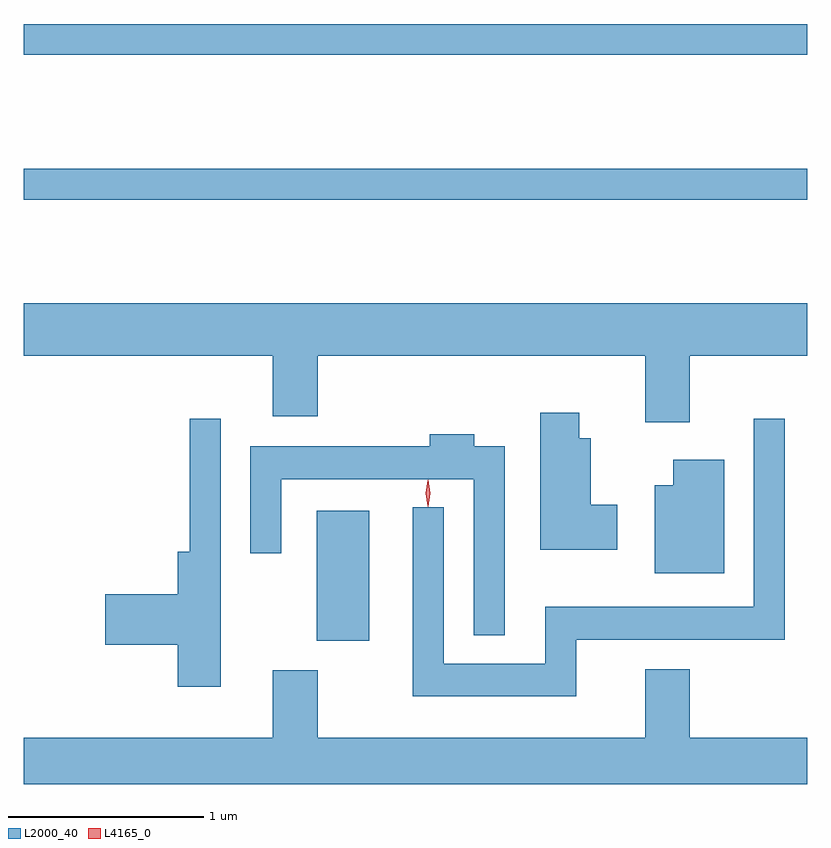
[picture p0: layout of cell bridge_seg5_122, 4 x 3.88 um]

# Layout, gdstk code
import gdstk
lib = gdstk.Library(unit=1e-6, precision=1e-09)
def R(c, l, rs):  # rectangles x0, y0, x1, y1
    for r in rs: c.add(gdstk.rectangle(r[:2], r[2:], *l))
def P(c, l, *ps):  # polygons
    for p in ps: c.add(gdstk.Polygon(p, *l))
L2000_40 = (2000, 40)
L4165_0 = (4165, 0)

bridge_seg5_122 = lib.new_cell('bridge_seg5_122')
R(bridge_seg5_122, L2000_40, [(1197.246,1422.041,1197.514,1422.704), (1195.749,1424.291,1199.749,1424.449), (1195.749,1425.031,1199.749,1425.189)])
P(bridge_seg5_122, L2000_40, [(1199.149,1423.496),(1199.749,1423.496),(1199.749,1423.764),(1195.749,1423.764),(1195.749,1423.496),(1197.021,1423.496),(1197.021,1423.186),(1197.249,1423.186),(1197.249,1423.496),(1198.921,1423.496),(1198.921,1423.156),(1199.149,1423.156)],
  [(1198.779,1422.734),(1198.644,1422.734),(1198.644,1423.074),(1198.584,1423.074),(1198.584,1423.204),(1198.386,1423.204),(1198.386,1422.506),(1198.779,1422.506)],
  [(1196.754,1423.173),(1196.596,1423.173),(1196.596,1422.494),(1196.536,1422.494),(1196.536,1422.279),(1196.166,1422.279),(1196.166,1422.021),(1196.536,1422.021),(1196.536,1421.806),(1196.754,1421.806)],
  [(1198.569,1422.046),(1199.634,1422.046),(1199.634,1423.173),(1199.476,1423.173),(1199.476,1422.214),(1198.411,1422.214),(1198.411,1421.924),(1197.894,1421.924),(1197.894,1422.723),(1197.736,1422.723),(1197.736,1421.756),(1198.569,1421.756)],
  [(1198.204,1423.034),(1198.049,1423.034),(1198.049,1423.094),(1197.821,1423.094),(1197.821,1423.034),(1196.906,1423.034),(1196.906,1422.488),(1197.064,1422.488),(1197.064,1422.866),(1198.046,1422.866),(1198.046,1422.068),(1198.204,1422.068)],
  [(1199.324,1422.964),(1199.066,1422.964),(1199.066,1422.834),(1198.971,1422.834),(1198.971,1422.386),(1199.324,1422.386)],
  [(1199.749,1421.544),(1199.149,1421.544),(1199.149,1421.894),(1198.921,1421.894),(1198.921,1421.544),(1197.249,1421.544),(1197.249,1421.889),(1197.021,1421.889),(1197.021,1421.544),(1195.749,1421.544),(1195.749,1421.309),(1199.749,1421.309)])
P(bridge_seg5_122, L4165_0, [(1197.814,1422.724),(1197.814,1422.724),(1197.804,1422.793),(1197.814,1422.862),(1197.814,1422.863),(1197.815,1422.862),(1197.824,1422.793),(1197.815,1422.724)],
  [(1197.811,1422.727),(1197.802,1422.794),(1197.811,1422.86),(1197.812,1422.86),(1197.812,1422.86),(1197.822,1422.794),(1197.812,1422.727),(1197.812,1422.727)])

lib.write_gds('bridge_seg5_122.gds')
